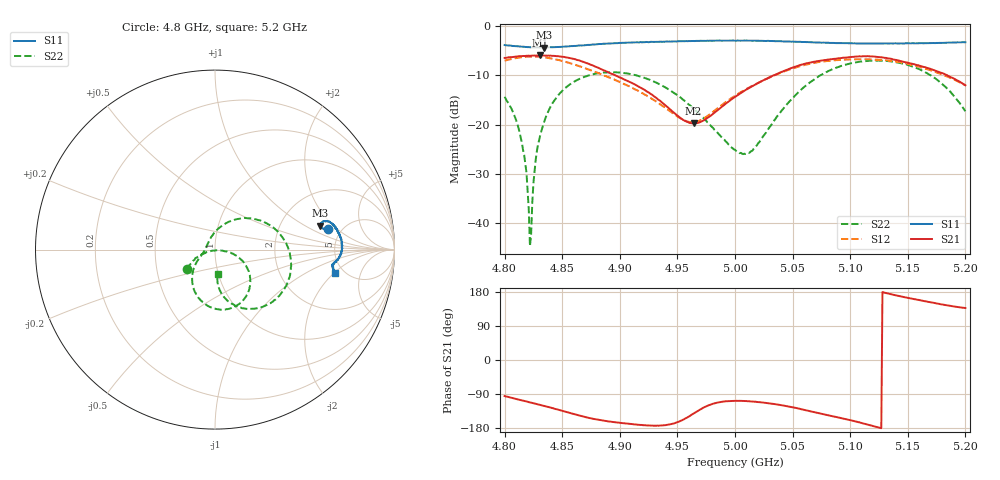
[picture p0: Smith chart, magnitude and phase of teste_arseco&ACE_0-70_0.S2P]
! Network Analyzer HP8722D
! Hewlett-Packard
! Data name: Linha & Wilkinson
! Saver's name: Rodrigo Anjos
! Comments: Teste da utilização de aquisição
! continua pelo VNA HP8722D
! Time and date: 8/5/2025 12:45
!  Frequency  S11  S21  S12  S22
# HZ  S  MA R 50
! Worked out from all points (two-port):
!   401 points, 4.8 GHz to 5.2 GHz, reference 50 ohm
!   highest |S21| = -5.99 dB at 4.831 GHz (marker M1); lowest = -19.8 dB at 4.964 GHz (marker M2)
!   |S21| within 3 dB of the highest: start of sweep to 4.886 GHz; 5.044 GHz to 5.173 GHz (128.9 MHz wide, 2.52 % of centre)
!   lowest |S11| = -4.4 dB at 4.834 GHz (marker M3), VSWR 4.02, Z = 169 + j70.8 ohm
!   |S11| at or under -10 dB: nowhere
!   |S22| runs from -44.6 to -7.0 dB; largest |S21 - S12| = 0.11
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4.8e9  0.6385 10.3  0.4728 -95.1  0.445 -81.5  0.1912 -144.7
4.808e9  0.6231 10.4  0.485 -101.3  0.4656 -88.8  0.1273 -153.4
4.814e9  0.6154 10.8  0.4935 -105.8  0.4792 -94.4  0.07356 -160.5
4.818e9  0.6105 11.2  0.4959 -109.0  0.4845 -98.3  0.04005 -164.1
4.821e9  0.6085 11.4  0.4988 -111.2  0.487 -101.4  0.01357 -156.0
4.822e9  0.6069 11.6  0.4956 -111.8  0.4869 -102.4  0.00588 -104.4
4.824e9  0.6038 11.6  0.4987 -113.3  0.4874 -104.4  0.01594 -12.4
4.827e9  0.604 12.1  0.4989 -115.5  0.4861 -107.4  0.04408 -8.1
4.831e9  0.6043 12.5  0.5016 -118.8  0.4856 -111.1  0.07912 -10.6
4.834e9  0.6017 12.8  0.4997 -121.0  0.4807 -114.2  0.104 -13.0
4.847e9  0.6114 14.2  0.492 -131.4  0.4505 -126.0  0.2009 -28.8
4.867e9  0.6322 14.5  0.436 -148.3  0.3829 -140.4  0.2975 -50.8
4.899e9  0.6695 12.3  0.3034 -165.5  0.2734 -155.4  0.3366 -83.0
4.934e9  0.6882 9.0  0.177 -173.4  0.1642 -160.0  0.2573 -116.2
4.964e9  0.7022 6.0  0.1027 -141.2  0.1054 -129.5  0.1454 -141.1
5e9  0.7071 1.7  0.1902 -107.9  0.1963 -101.9  0.05553 178.8
5.014e9  0.7075 -0.2  0.2414 -109.4  0.2437 -104.1  0.05386 134.8
5.067e9  0.6801 -5.2  0.4288 -136.3  0.4167 -131.7  0.2767 38.0
5.102e9  0.6649 -6.7  0.4844 -160.1  0.4578 -155.9  0.4193 -4.3
5.134e9  0.6627 -7.8  0.4666 174.8  0.4426 -178.0  0.4379 -38.7
5.172e9  0.6688 -9.5  0.3587 151.2  0.3467 157.7  0.3031 -74.7
5.2e9  0.6815 -11.2  0.25 137.2  0.2498 145.1  0.1364 -83.5
